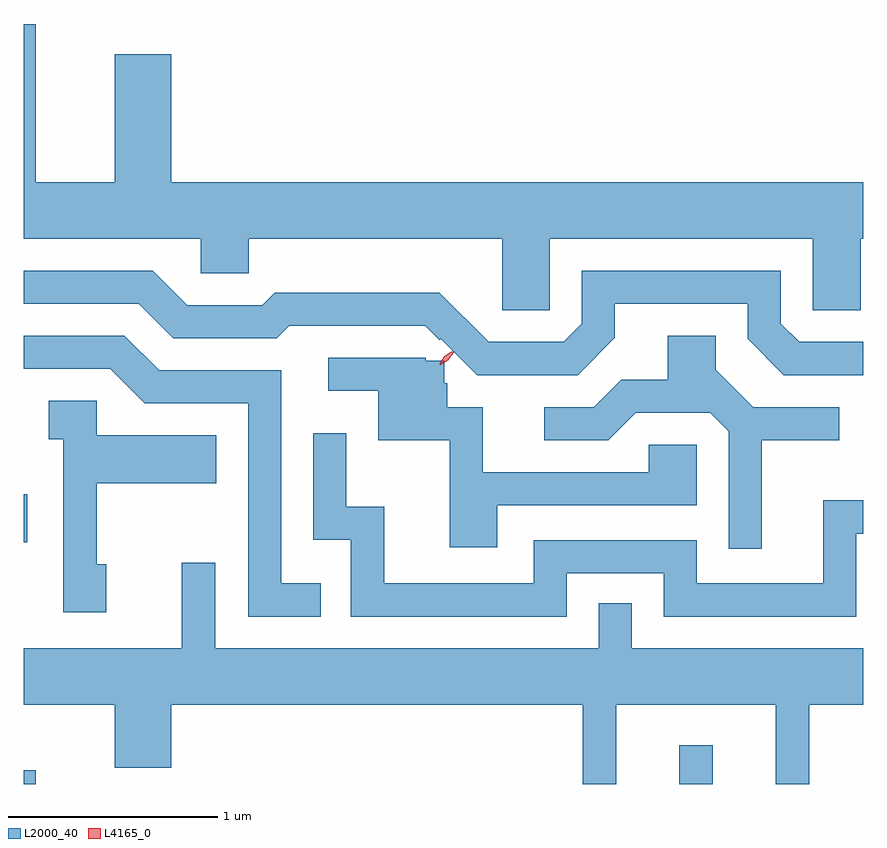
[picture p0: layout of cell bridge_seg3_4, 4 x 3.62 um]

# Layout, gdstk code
import gdstk
lib = gdstk.Library(unit=1e-6, precision=1e-09)
def R(c, l, rs):  # rectangles x0, y0, x1, y1
    for r in rs: c.add(gdstk.rectangle(r[:2], r[2:], *l))
def P(c, l, *ps):  # polygons
    for p in ps: c.add(gdstk.Polygon(p, *l))
L2000_40 = (2000, 40)
L4165_0 = (4165, 0)

bridge_seg3_4 = lib.new_cell('bridge_seg3_4')
R(bridge_seg3_4, L2000_40, [(1872.982,1249.958,1873.039,1250.023), (1876.106,1249.958,1876.264,1250.143), (1872.982,1251.111,1872.999,1251.339)])
P(bridge_seg3_4, L2000_40, [(1875.489,1252.556),(1876.741,1252.556),(1876.741,1252.216),(1876.969,1252.216),(1876.969,1252.556),(1876.982,1252.556),(1876.982,1252.824),(1873.684,1252.824),(1873.684,1253.434),(1873.416,1253.434),(1873.416,1252.824),(1873.039,1252.824),(1873.039,1253.579),(1872.982,1253.579),(1872.982,1252.556),(1873.826,1252.556),(1873.826,1252.391),(1874.054,1252.391),(1874.054,1252.556),(1875.261,1252.556),(1875.261,1252.216),(1875.489,1252.216)],
  [(1875.799,1252.084),(1875.799,1252.246),(1876.431,1252.246),(1876.431,1252.079),(1876.604,1251.906),(1876.982,1251.906),(1876.982,1252.064),(1876.677,1252.064),(1876.589,1252.152),(1876.589,1252.404),(1875.641,1252.404),(1875.641,1252.152),(1875.554,1252.064),(1875.197,1252.064),(1874.962,1252.299),(1874.179,1252.299),(1874.119,1252.239),(1873.762,1252.239),(1873.597,1252.404),(1872.982,1252.404),(1872.982,1252.246),(1873.529,1252.246),(1873.694,1252.081),(1874.187,1252.081),(1874.247,1252.141),(1874.896,1252.141),(1874.964,1252.073),(1874.97,1252.079),(1875.143,1251.906),(1875.622,1251.906)],
  [(1874.398,1250.914),(1874.209,1250.914),(1874.209,1251.929),(1873.627,1251.929),(1873.462,1252.094),(1872.982,1252.094),(1872.982,1251.936),(1873.394,1251.936),(1873.559,1251.771),(1874.051,1251.771),(1874.051,1250.756),(1874.398,1250.756)],
  [(1876.499,1251.596),(1876.868,1251.596),(1876.868,1251.754),(1876.457,1251.754),(1876.279,1251.932),(1876.279,1252.094),(1876.051,1252.094),(1876.051,1251.884),(1875.829,1251.884),(1875.699,1251.754),(1875.463,1251.754),(1875.463,1251.596),(1875.767,1251.596),(1875.897,1251.726),(1876.254,1251.726),(1876.341,1251.639),(1876.341,1251.078),(1876.499,1251.078)],
  [(1875.239,1251.286),(1876.189,1251.286),(1876.189,1251.574),(1875.961,1251.574),(1875.961,1251.444),(1875.169,1251.444),(1875.169,1251.754),(1875.001,1251.754),(1875.001,1251.868),(1874.986,1251.868),(1874.986,1251.975),(1874.898,1251.975),(1874.898,1251.989),(1874.433,1251.989),(1874.433,1251.831),(1874.671,1251.831),(1874.671,1251.596),(1875.011,1251.596),(1875.011,1251.086),(1875.239,1251.086)],
  [(1873.374,1251.004),(1873.329,1251.004),(1873.329,1251.391),(1873.899,1251.391),(1873.899,1251.619),(1873.329,1251.619),(1873.329,1251.784),(1873.101,1251.784),(1873.101,1251.601),(1873.171,1251.601),(1873.171,1250.776),(1873.374,1250.776)],
  [(1875.569,1250.961),(1876.031,1250.961),(1876.031,1250.756),(1876.949,1250.756),(1876.949,1251.151),(1876.982,1251.151),(1876.982,1251.309),(1876.791,1251.309),(1876.791,1250.914),(1876.189,1250.914),(1876.189,1251.119),(1875.411,1251.119),(1875.411,1250.914),(1874.699,1250.914),(1874.699,1251.279),(1874.519,1251.279),(1874.519,1251.628),(1874.361,1251.628),(1874.361,1251.121),(1874.541,1251.121),(1874.541,1250.756),(1875.569,1250.756)],
  [(1875.804,1250.336),(1876.566,1250.336),(1876.566,1249.958),(1876.724,1249.958),(1876.724,1250.336),(1876.982,1250.336),(1876.982,1250.604),(1875.879,1250.604),(1875.879,1250.818),(1875.721,1250.818),(1875.721,1250.604),(1873.894,1250.604),(1873.894,1251.013),(1873.736,1251.013),(1873.736,1250.604),(1872.982,1250.604),(1872.982,1250.336),(1873.416,1250.336),(1873.416,1250.036),(1873.684,1250.036),(1873.684,1250.336),(1875.646,1250.336),(1875.646,1249.958),(1875.804,1249.958)])
P(bridge_seg3_4, L4165_0, [(1874.964,1251.953),(1874.964,1251.954),(1874.99,1251.992),(1875.029,1252.017),(1875.03,1252.017),(1875.03,1252.016),(1875.004,1251.978),(1874.965,1251.953)],
  [(1874.964,1251.959),(1874.964,1251.96),(1874.986,1251.996),(1875.022,1252.02),(1875.023,1252.02),(1875.023,1252.019),(1875,1251.982),(1874.964,1251.959)])

lib.write_gds('bridge_seg3_4.gds')
